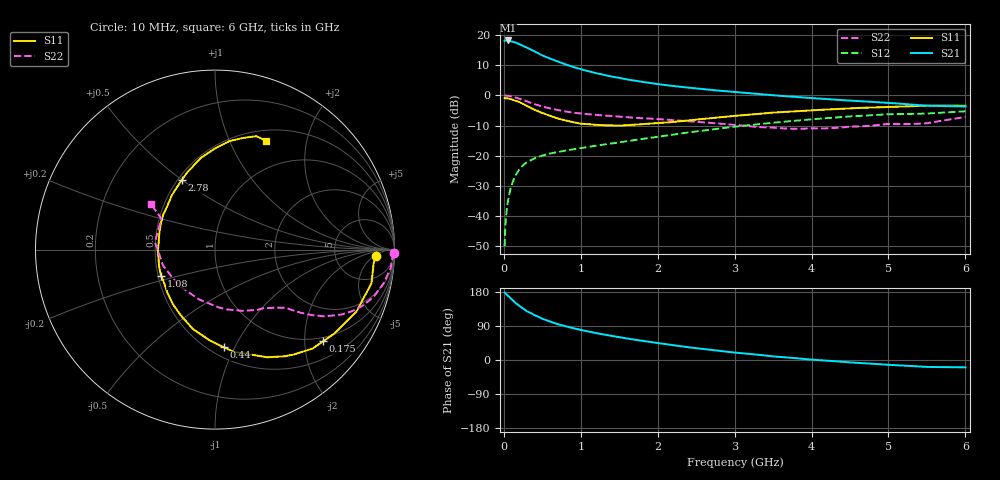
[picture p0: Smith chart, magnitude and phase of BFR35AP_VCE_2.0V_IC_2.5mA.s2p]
! Infineon Technologies  Discrete & RF Semiconductors
! BFR35AP
! VCE =  2.0 V,  IC =  2.5 mA
! Common Emitter S-Parameters:  Nov 2015
# GHz  S  MA  R  50
!  f  S11  S21  S12  S22
! GHz  MAG  ANG  MAG  ANG  MAG  ANG  MAG  ANG
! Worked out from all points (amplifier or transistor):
!   210 points, 10 MHz to 6 GHz, reference 50 ohm
!   highest |S21| = 18.1 dB at 50 MHz (marker M1)
!   |S21| within 3 dB of that: start of sweep to 350.2 MHz
!   unconditionally stable (mu >= 1): 1.023 GHz to 4.362 GHz; 5.083 GHz to end of sweep
!   at 185 MHz: K = 0.25, MSG = 21.1 dB, |S12| = -25.1 dB
!   at 1.52 GHz: K = 1.15, MAG = 8.2 dB, |S12| = -15.5 dB
!   at 6 GHz: K = 1.01, MAG = 0.1 dB, |S12| = -5.3 dB
!   S11 on the Smith chart (normalised r, x): 10 MHz: 16, -6; 175 MHz: 0.90, -2.44; 440 MHz: 0.59, -0.91; 1.08 GHz: 0.52, -0.17; 2.78 GHz: 0.52, +0.50; 6 GHz: 0.63, +1.38
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0.01  0.8988 -2.4  7.964 178.3  0.0032 89.0  0.9954 -1.1
0.025  0.8869 -6.1  8.033 174.9  0.0085 83.5  0.9883 -3.0
0.05  0.8918 -12.1  8.055 170.1  0.0168 82.6  0.9842 -6.0
0.1  0.8603 -23.7  7.74 160.9  0.0324 76.8  0.9579 -11.4
0.15  0.8116 -35.4  7.472 150.9  0.0469 70.2  0.9218 -16.7
0.175  0.7899 -40.3  7.23 147.1  0.053 67.5  0.8997 -18.7
0.24  0.7311 -53.1  6.632 137.2  0.0676 61.6  0.8435 -23.7
0.3  0.6675 -64.0  6.137 128.7  0.0783 57.4  0.7916 -27.2
0.44  0.5469 -84.7  4.997 114.8  0.0945 50.8  0.6869 -32.5
0.5  0.5089 -92.9  4.554 108.9  0.1007 48.8  0.6505 -34.1
0.6  0.4591 -105.6  4.044 101.3  0.1089 46.9  0.6067 -35.8
0.7  0.4141 -117.1  3.62 94.7  0.1152 45.7  0.5696 -37.3
0.8  0.3846 -127.6  3.238 89.0  0.1218 45.2  0.5395 -38.3
1.02  0.3372 -148.3  2.653 78.6  0.1348 45.1  0.4965 -40.7
1.08  0.3339 -153.6  2.535 76.0  0.1388 45.2  0.4885 -41.5
1.6  0.3201 167.2  1.828 56.6  0.1742 46.4  0.4335 -48.7
2.02  0.3488 145.0  1.518 44.3  0.2086 46.4  0.4028 -56.7
2.78  0.4285 115.7  1.197 24.7  0.2799 42.7  0.3425 -77.5
3.1  0.4672 107.5  1.103 17.8  0.3121 39.8  0.3145 -89.5
4.1  0.5727 88.3  0.881 -0.3  0.4092 28.6  0.2826 -141.2
5.1  0.6469 74.7  0.734 -13.7  0.4873 14.5  0.3341 168.2
6  0.6707 64.7  0.653 -19.3  0.5438 4.0  0.4365 144.6
